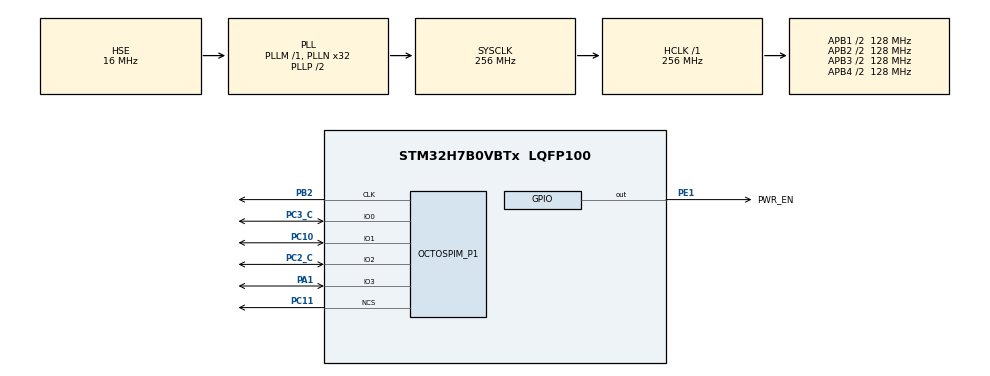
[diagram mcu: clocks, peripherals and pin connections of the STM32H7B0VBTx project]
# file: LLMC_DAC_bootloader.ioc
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CORTEX_M7.AccessPermission-Cortex_Memory_Protection_Unit_Region0_Settings=MPU_REGION_FULL_ACCESS
CORTEX_M7.AccessPermission-Cortex_Memory_Protection_Unit_Region1_Settings=MPU_REGION_FULL_ACCESS
CORTEX_M7.BaseAddress-Cortex_Memory_Protection_Unit_Region0_Settings=0x90000000
CORTEX_M7.BaseAddress-Cortex_Memory_Protection_Unit_Region1_Settings=0x08000000
CORTEX_M7.CPU_DCache=Disabled
CORTEX_M7.CPU_ICache=Disabled
CORTEX_M7.DisableExec-Cortex_Memory_Protection_Unit_Region0_Settings=MPU_INSTRUCTION_ACCESS_ENABLE
CORTEX_M7.Enable-Cortex_Memory_Protection_Unit_Region0_Settings=MPU_REGION_ENABLE
CORTEX_M7.Enable-Cortex_Memory_Protection_Unit_Region1_Settings=MPU_REGION_ENABLE
CORTEX_M7.IsBufferable-Cortex_Memory_Protection_Unit_Region0_Settings=MPU_ACCESS_NOT_BUFFERABLE
CORTEX_M7.IsBufferable-Cortex_Memory_Protection_Unit_Region1_Settings=MPU_ACCESS_NOT_BUFFERABLE
CORTEX_M7.IsCacheable-Cortex_Memory_Protection_Unit_Region0_Settings=MPU_ACCESS_NOT_CACHEABLE
CORTEX_M7.IsCacheable-Cortex_Memory_Protection_Unit_Region1_Settings=MPU_ACCESS_NOT_CACHEABLE
CORTEX_M7.MPU_Control=MPU_PRIVILEGED_DEFAULT
CORTEX_M7.Size-Cortex_Memory_Protection_Unit_Region0_Settings=MPU_REGION_SIZE_16MB
CORTEX_M7.Size-Cortex_Memory_Protection_Unit_Region1_Settings=MPU_REGION_SIZE_128KB
CORTEX_M7.default_mode_Activation=0
Mcu.Family=STM32H7
Mcu.Name=STM32H7B0VBTx
Mcu.Package=LQFP100
NVIC.PriorityGroup=NVIC_PRIORITYGROUP_4
OCTOSPI1.ChipSelectHighTime=4
OCTOSPI1.ClockPrescaler=3
OCTOSPI1.DelayBlockBypass=HAL_OSPI_DELAY_BLOCK_BYPASSED
OCTOSPI1.DelayHoldQuarterCycle=HAL_OSPI_DHQC_DISABLE
OCTOSPI1.DeviceSize=23
OCTOSPI1.FifoThreshold=1
OCTOSPI1.SampleShifting=HAL_OSPI_SAMPLE_SHIFTING_NONE
PA1.Mode=OCTOSPI1_IOL_Port1L
PA1.Signal=OCTOSPIM_P1_IO3
PA13.Mode=Serial_Wire
PA13.Signal=DEBUG_JTMS-SWDIO
PA14.Mode=Serial_Wire
PA14.Signal=DEBUG_JTCK-SWCLK
PB2.Mode=O1_P1_CLK
PB2.Signal=OCTOSPIM_P1_CLK
PC10.Mode=OCTOSPI1_IOL_Port1L
PC10.Signal=OCTOSPIM_P1_IO1
PC11.GPIO_PuPd=GPIO_NOPULL
PC11.Mode=OCTOSPI1_Port1_NCS
PC11.Signal=OCTOSPIM_P1_NCS
PC2_C.GPIO_PuPd=GPIO_NOPULL
PC2_C.Mode=OCTOSPI1_IOL_Port1L
PC2_C.Signal=OCTOSPIM_P1_IO2
PC3_C.Mode=OCTOSPI1_IOL_Port1L
PC3_C.Signal=OCTOSPIM_P1_IO0
PE1.GPIO_Label=PWR_EN
PE1.Signal=GPIO_Output
PH0-OSC_IN.Mode=HSE-External-Oscillator
PH0-OSC_IN.Signal=RCC_OSC_IN
PH1-OSC_OUT.Mode=HSE-External-Oscillator
PH1-OSC_OUT.Signal=RCC_OSC_OUT
ProjectManager.HeapSize=0x200
ProjectManager.StackSize=0x400
ProjectManager.TargetToolchain=STM32CubeIDE
RCC.ADCFreq_Value=32250000
RCC.APB1Freq_Value=128000000
RCC.APB2Freq_Value=128000000
RCC.APB3Freq_Value=128000000
RCC.APB4Freq_Value=128000000
RCC.CDPPRE=RCC_APB3_DIV2
RCC.CDPPRE1=RCC_APB1_DIV2
RCC.CDPPRE2=RCC_APB2_DIV2
RCC.CortexFreq_Value=256000000
RCC.DIVM1=1
RCC.DIVN1=32
RCC.HCLKFreq_Value=256000000
RCC.HSE_VALUE=16000000
RCC.HSIDiv=RCC_PLLSAIDIVR_8
RCC.PLLFRACN=0
RCC.PLLSourceVirtual=RCC_PLLSOURCE_HSE
RCC.PWR_Regulator_Voltage_Scale=PWR_REGULATOR_VOLTAGE_SCALE0
RCC.SRDPPRE=RCC_APB4_DIV2
RCC.SYSCLKFreq_VALUE=256000000
RCC.SYSCLKSource=RCC_SYSCLKSOURCE_PLLCLK
RCC.SupplySource=PWR_LDO_SUPPLY
RCC.USBFreq_Value=256000000
TIM5.Slave_TriggerFilter=4
VP_OCTOSPI1_VS_quad.Mode=quad_mode
VP_TIM5_VS_ControllerModeClock.Mode=Clock Mode
VP_TIM5_VS_NoETR.Mode=TriggerSource_ETR_Remap_TIM5
board=custom

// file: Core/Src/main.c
/* USER CODE BEGIN Header */
/**
  ******************************************************************************
  * @file           : main.c
  * @brief          : Main program body
  ******************************************************************************
  * @attention
  *
  * Copyright (c) 2024 STMicroelectronics.
  * All rights reserved.
  *
  * This software is licensed under terms that can be found in the LICENSE file
  * in the root directory of this software component.
  * If no LICENSE file comes with this software, it is provided AS-IS.
  *
  ******************************************************************************
  */
/* USER CODE END Header */
#include "main.h"
#include "octospi.h"
#include "tim.h"
#include "gpio.h"

/* USER CODE BEGIN Includes */
#include <stddef.h>
#include <stdint.h>
#include "W25Q128.h"
/* USER CODE END Includes */

/* USER CODE BEGIN PTD */
typedef void(*fn_call_t)(void);
/* USER CODE END PTD */

/* USER CODE BEGIN PD */
const size_t addrApplication = 0x90000000;
//const size_t addrApplication = 0x08000000;
/* USER CODE END PD */

void SystemClock_Config(void);
static void MPU_Config(void);
/* USER CODE BEGIN PFP */
 void SystemClock_Config(void);
 static void MPU_Config(void);
/* USER CODE END PFP */

/* USER CODE BEGIN 0 */
uint8_t txbuf[] = "TEST";
uint8_t txbuf2[] = "A";

HAL_StatusTypeDef ret=0;
uint8_t rxbuf[100];
/* USER CODE END 0 */

int main(void)
{

  /* MPU Configuration--------------------------------------------------------*/
  MPU_Config();

  /* MCU Configuration--------------------------------------------------------*/

  /* Reset of all peripherals, Initializes the Flash interface and the Systick. */
  HAL_Init();

  /* Configure the system clock */
  SystemClock_Config();

  /* Initialize all configured peripherals */
  MX_GPIO_Init();
  MX_OCTOSPI1_Init();
  MX_TIM5_Init();
  /* USER CODE BEGIN 2 */
  HAL_Delay(1000);
  HAL_GPIO_WritePin(PWR_EN_GPIO_Port, PWR_EN_Pin, GPIO_PIN_SET); // hold power line
  int WE = 0;
  W25Q128_OCTO_SPI_Init(&hospi1, WE);
//  ret=W25Q128_OSPI_Erase_Chip(&hospi1);
////  ret=W25Q128_OSPI_EraseSector(&hospi1,0,0x7FFFFF);
////  ret=W25Q128_OSPI_EraseSector(&hospi1,0x800000,0xFFFFFF);
//  ret=W25Q128_OSPI_Read(&hospi1, rxbuf, 0, 100);
//  ret=W25Q128_OSPI_Write(&hospi1,txbuf,0,sizeof(txbuf));
//  ret=W25Q128_OSPI_Read(&hospi1, rxbuf, 0, 100);
//  W25Q128_OSPI_Configuration(&hospi1);
  W25Q128_OSPI_EnableMemoryMappedMode(&hospi1);
//  HAL_Delay(100);

  // NOTE: +4 skips stack pointer at the first word, the address of ResetHandler is stored at +4
  // NOTE: jump to ResetHandler, not +4 itself
  fn_call_t callApplication = (fn_call_t)(*(__IO size_t*)(addrApplication + 4U));

  /* disable SysTick interrupt */

  /* call stack top address */

  __disable_irq(); // 关中断
  HAL_RCC_DeInit();
  SysTick->CTRL = 0;
  SysTick->LOAD = 0;
  SysTick->VAL = 0;

  for (uint8_t i = 0; i < 8; i++)
  {
	  NVIC->ICER[i]=0xFFFFFFFF;
	  NVIC->ICPR[i]=0xFFFFFFFF;
  }

  __set_CONTROL(0);  // 把中断向量表VTOR切回0
  __set_MSP(*(size_t*)(addrApplication));// 把栈指针切回MSP
  __enable_irq();
  callApplication();
  /* USER CODE END 2 */

  /* Infinite loop */
  while (1)
  {

  }
}

void SystemClock_Config(void)
{
  RCC_OscInitTypeDef RCC_OscInitStruct = {0};
  RCC_ClkInitTypeDef RCC_ClkInitStruct = {0};

  /** Supply configuration update enable
  */
  HAL_PWREx_ConfigSupply(PWR_LDO_SUPPLY);

  /** Configure the main internal regulator output voltage
  */
  __HAL_PWR_VOLTAGESCALING_CONFIG(PWR_REGULATOR_VOLTAGE_SCALE0);

  while(!__HAL_PWR_GET_FLAG(PWR_FLAG_VOSRDY)) {}

  /** Initializes the RCC Oscillators according to the specified parameters
  * in the RCC_OscInitTypeDef structure.
  */
  RCC_OscInitStruct.OscillatorType = RCC_OSCILLATORTYPE_HSE;
  RCC_OscInitStruct.HSEState = RCC_HSE_ON;
  RCC_OscInitStruct.PLL.PLLState = RCC_PLL_ON;
  RCC_OscInitStruct.PLL.PLLSource = RCC_PLLSOURCE_HSE;
  RCC_OscInitStruct.PLL.PLLM = 1;
  RCC_OscInitStruct.PLL.PLLN = 32;
  RCC_OscInitStruct.PLL.PLLP = 2;
  RCC_OscInitStruct.PLL.PLLQ = 2;
  RCC_OscInitStruct.PLL.PLLR = 2;
  RCC_OscInitStruct.PLL.PLLRGE = RCC_PLL1VCIRANGE_3;
  RCC_OscInitStruct.PLL.PLLVCOSEL = RCC_PLL1VCOWIDE;
  RCC_OscInitStruct.PLL.PLLFRACN = 0;
  if (HAL_RCC_OscConfig(&RCC_OscInitStruct) != HAL_OK)
  {
    Error_Handler();
  }

  /** Initializes the CPU, AHB and APB buses clocks
  */
  RCC_ClkInitStruct.ClockType = RCC_CLOCKTYPE_HCLK|RCC_CLOCKTYPE_SYSCLK
                              |RCC_CLOCKTYPE_PCLK1|RCC_CLOCKTYPE_PCLK2
                              |RCC_CLOCKTYPE_D3PCLK1|RCC_CLOCKTYPE_D1PCLK1;
  RCC_ClkInitStruct.SYSCLKSource = RCC_SYSCLKSOURCE_PLLCLK;
  RCC_ClkInitStruct.SYSCLKDivider = RCC_SYSCLK_DIV1;
  RCC_ClkInitStruct.AHBCLKDivider = RCC_HCLK_DIV1;
  RCC_ClkInitStruct.APB3CLKDivider = RCC_APB3_DIV2;
  RCC_ClkInitStruct.APB1CLKDivider = RCC_APB1_DIV2;
  RCC_ClkInitStruct.APB2CLKDivider = RCC_APB2_DIV2;
  RCC_ClkInitStruct.APB4CLKDivider = RCC_APB4_DIV2;

  if (HAL_RCC_ClockConfig(&RCC_ClkInitStruct, FLASH_LATENCY_7) != HAL_OK)
  {
    Error_Handler();
  }
}

/* MPU Configuration */

void MPU_Config(void)
{
  MPU_Region_InitTypeDef MPU_InitStruct = {0};

  /* Disables the MPU */
  HAL_MPU_Disable();

  /** Initializes and configures the Region and the memory to be protected
  */
  MPU_InitStruct.Enable = MPU_REGION_ENABLE;
  MPU_InitStruct.Number = MPU_REGION_NUMBER0;
  MPU_InitStruct.BaseAddress = 0x90000000;
  MPU_InitStruct.Size = MPU_REGION_SIZE_16MB;
  MPU_InitStruct.SubRegionDisable = 0x0;
  MPU_InitStruct.TypeExtField = MPU_TEX_LEVEL0;
  MPU_InitStruct.AccessPermission = MPU_REGION_FULL_ACCESS;
  MPU_InitStruct.DisableExec = MPU_INSTRUCTION_ACCESS_ENABLE;
  MPU_InitStruct.IsShareable = MPU_ACCESS_NOT_SHAREABLE;
  MPU_InitStruct.IsCacheable = MPU_ACCESS_NOT_CACHEABLE;
  MPU_InitStruct.IsBufferable = MPU_ACCESS_NOT_BUFFERABLE;

  HAL_MPU_ConfigRegion(&MPU_InitStruct);

  /** Initializes and configures the Region and the memory to be protected
  */
  MPU_InitStruct.Number = MPU_REGION_NUMBER1;
  MPU_InitStruct.BaseAddress = 0x08000000;
  MPU_InitStruct.Size = MPU_REGION_SIZE_128KB;

  HAL_MPU_ConfigRegion(&MPU_InitStruct);
  /* Enables the MPU */
  HAL_MPU_Enable(MPU_PRIVILEGED_DEFAULT);

}

void Error_Handler(void)
{
  __disable_irq();
  while (1)
  {
  }
}
